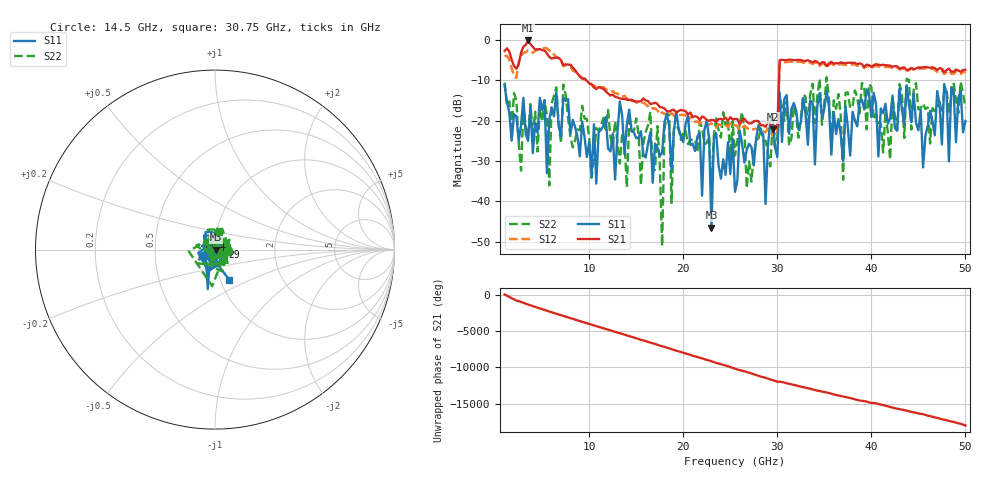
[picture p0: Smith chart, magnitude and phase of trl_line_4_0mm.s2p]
# GHz S RI R 50.0
!freq ReS11 ImS11 ReS21 ImS21 ReS12 ImS12 ReS22 ImS22
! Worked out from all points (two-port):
!   197 points, 1 GHz to 50 GHz, reference 50 ohm
!   highest |S21| = -0.20 dB at 3.5 GHz (marker M1); lowest = -22.2 dB at 29.5 GHz (marker M2)
!   |S21| within 3 dB of the highest: start of sweep to 1.533 GHz; 2.748 GHz to 5.424 GHz (2.677 GHz wide, 65.5 % of centre)
!   lowest |S11| = -46.5 dB at 23 GHz (marker M3), VSWR 1.01, Z = 50.5 + j0.00673 ohm
!   |S11| at or under -10 dB: start of sweep to end of sweep
!   |S22| runs from -51.1 to -9.3 dB; largest |S21 - S12| = 1.5
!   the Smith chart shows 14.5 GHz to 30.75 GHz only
!   S11 on the Smith chart (normalised r, x): 14.5 GHz: 0.87, -0.07; 29 GHz: 1.09, +0.03; 30.75 GHz: 1.10, -0.38
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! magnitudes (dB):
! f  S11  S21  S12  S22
! 1 GHz  -11.3  -2.8  -4.1  -10.6
! 3.5 GHz  -25.0  -0.2  -2.7  -23.9
! 9.25 GHz  -20.2  -9.7  -9.5  -16.3
! 14.5 GHz  -22.4  -14.8  -14.9  -22.7
! 17.5 GHz  -28.8  -16.7  -18.5  -30.6
! 17.75 GHz  -27.9  -16.7  -18.0  -51.1
! 18.25 GHz  -18.3  -17.7  -18.8  -18.3
! 18.75 GHz  -32.4  -17.5  -18.1  -40.4
! 19 GHz  -22.6  -17.3  -18.7  -22.0
! 22 GHz  -38.6  -19.0  -20.5  -21.7
! 22.5 GHz  -20.0  -19.9  -21.2  -25.5
! 23 GHz  -46.5  -19.9  -20.7  -38.3
! 23.5 GHz  -23.1  -20.2  -21.7  -19.5
! 25.5 GHz  -37.6  -19.6  -21.1  -28.6
! 29 GHz  -26.4  -20.4  -22.0  -28.3
! 29.5 GHz  -19.1  -22.2  -23.9  -20.9
! 30.75 GHz  -14.6  -5.1  -5.5  -20.0
! 33.75 GHz  -15.6  -5.6  -6.0  -10.9
! 42 GHz  -19.5  -6.4  -6.8  -29.7
! 43.75 GHz  -11.3  -7.6  -7.8  -9.7
! 45.5 GHz  -31.6  -6.8  -7.1  -15.8
! 50 GHz  -20.1  -7.5  -8.0  -16.8
